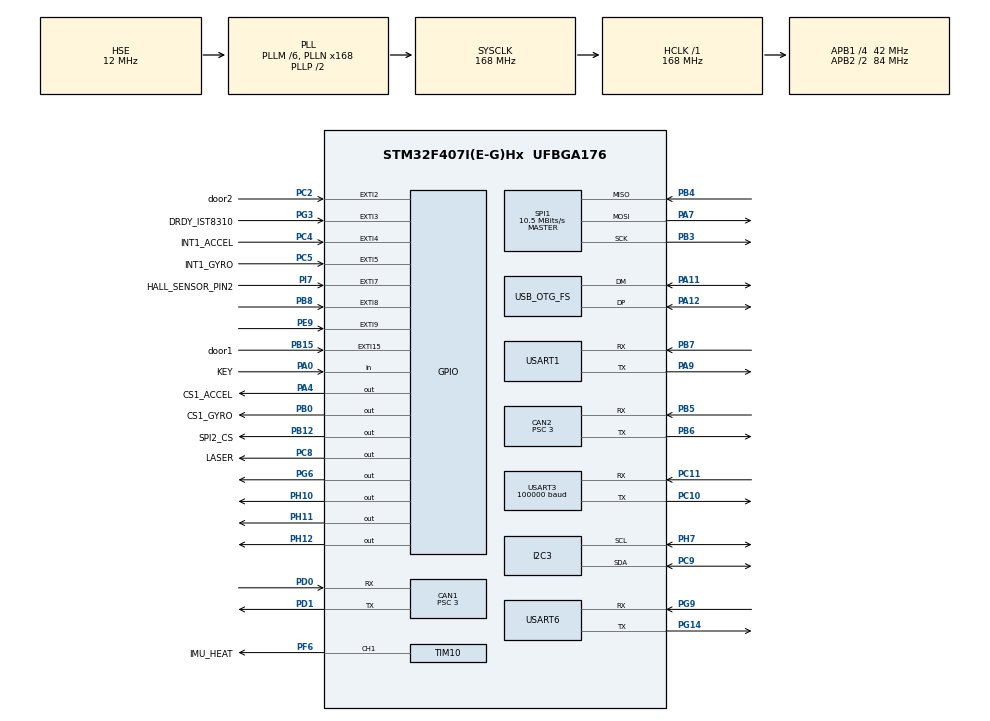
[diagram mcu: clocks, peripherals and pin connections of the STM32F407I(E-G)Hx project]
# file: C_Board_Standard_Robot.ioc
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CAN1.BS1=CAN_BS1_10TQ
CAN1.BS2=CAN_BS2_3TQ
CAN1.CalculateBaudRate=1000000
CAN1.CalculateTimeBit=1000
CAN1.CalculateTimeQuantum=71.42857142857143
CAN1.Prescaler=3
CAN2.BS1=CAN_BS1_10TQ
CAN2.BS2=CAN_BS2_3TQ
CAN2.CalculateBaudRate=1000000
CAN2.CalculateTimeBit=1000
CAN2.CalculateTimeQuantum=71.42857142857143
CAN2.Prescaler=3
Dma.Request0=SPI1_RX
Dma.Request1=SPI1_TX
Dma.Request2=USART1_RX
Dma.Request3=USART1_TX
Dma.Request4=USART3_RX
Dma.Request5=USART3_TX
Dma.Request6=USART6_RX
Dma.Request7=USART6_TX
Dma.SPI1_RX.0.Direction=DMA_PERIPH_TO_MEMORY
Dma.SPI1_RX.0.FIFOMode=DMA_FIFOMODE_DISABLE
Dma.SPI1_RX.0.Instance=DMA2_Stream0
Dma.SPI1_RX.0.MemDataAlignment=DMA_MDATAALIGN_BYTE
Dma.SPI1_RX.0.MemInc=DMA_MINC_ENABLE
Dma.SPI1_RX.0.Mode=DMA_NORMAL
Dma.SPI1_RX.0.PeriphDataAlignment=DMA_PDATAALIGN_BYTE
Dma.SPI1_RX.0.PeriphInc=DMA_PINC_DISABLE
Dma.SPI1_RX.0.Priority=DMA_PRIORITY_VERY_HIGH
Dma.SPI1_TX.1.Direction=DMA_MEMORY_TO_PERIPH
Dma.SPI1_TX.1.FIFOMode=DMA_FIFOMODE_DISABLE
Dma.SPI1_TX.1.Instance=DMA2_Stream3
Dma.SPI1_TX.1.MemDataAlignment=DMA_MDATAALIGN_BYTE
Dma.SPI1_TX.1.MemInc=DMA_MINC_ENABLE
Dma.SPI1_TX.1.Mode=DMA_NORMAL
Dma.SPI1_TX.1.PeriphDataAlignment=DMA_PDATAALIGN_BYTE
Dma.SPI1_TX.1.PeriphInc=DMA_PINC_DISABLE
Dma.SPI1_TX.1.Priority=DMA_PRIORITY_HIGH
Dma.USART1_RX.2.Direction=DMA_PERIPH_TO_MEMORY
Dma.USART1_RX.2.FIFOMode=DMA_FIFOMODE_DISABLE
Dma.USART1_RX.2.Instance=DMA2_Stream2
Dma.USART1_RX.2.MemDataAlignment=DMA_MDATAALIGN_BYTE
Dma.USART1_RX.2.MemInc=DMA_MINC_ENABLE
Dma.USART1_RX.2.Mode=DMA_NORMAL
Dma.USART1_RX.2.PeriphDataAlignment=DMA_PDATAALIGN_BYTE
Dma.USART1_RX.2.PeriphInc=DMA_PINC_DISABLE
Dma.USART1_RX.2.Priority=DMA_PRIORITY_VERY_HIGH
Dma.USART1_TX.3.Direction=DMA_MEMORY_TO_PERIPH
Dma.USART1_TX.3.FIFOMode=DMA_FIFOMODE_DISABLE
Dma.USART1_TX.3.Instance=DMA2_Stream7
Dma.USART1_TX.3.MemDataAlignment=DMA_MDATAALIGN_BYTE
Dma.USART1_TX.3.MemInc=DMA_MINC_ENABLE
Dma.USART1_TX.3.Mode=DMA_NORMAL
Dma.USART1_TX.3.PeriphDataAlignment=DMA_PDATAALIGN_BYTE
Dma.USART1_TX.3.PeriphInc=DMA_PINC_DISABLE
Dma.USART1_TX.3.Priority=DMA_PRIORITY_VERY_HIGH
Dma.USART3_RX.4.Direction=DMA_PERIPH_TO_MEMORY
Dma.USART3_RX.4.FIFOMode=DMA_FIFOMODE_DISABLE
Dma.USART3_RX.4.Instance=DMA1_Stream1
Dma.USART3_RX.4.MemDataAlignment=DMA_MDATAALIGN_BYTE
Dma.USART3_RX.4.MemInc=DMA_MINC_ENABLE
Dma.USART3_RX.4.Mode=DMA_NORMAL
Dma.USART3_RX.4.PeriphDataAlignment=DMA_PDATAALIGN_BYTE
Dma.USART3_RX.4.PeriphInc=DMA_PINC_DISABLE
Dma.USART3_RX.4.Priority=DMA_PRIORITY_LOW
Dma.USART3_TX.5.Direction=DMA_MEMORY_TO_PERIPH
Dma.USART3_TX.5.FIFOMode=DMA_FIFOMODE_DISABLE
Dma.USART3_TX.5.Instance=DMA1_Stream3
Dma.USART3_TX.5.MemDataAlignment=DMA_MDATAALIGN_BYTE
Dma.USART3_TX.5.MemInc=DMA_MINC_ENABLE
Dma.USART3_TX.5.Mode=DMA_NORMAL
Dma.USART3_TX.5.PeriphDataAlignment=DMA_PDATAALIGN_BYTE
Dma.USART3_TX.5.PeriphInc=DMA_PINC_DISABLE
Dma.USART3_TX.5.Priority=DMA_PRIORITY_VERY_HIGH
Dma.USART6_RX.6.Direction=DMA_PERIPH_TO_MEMORY
Dma.USART6_RX.6.FIFOMode=DMA_FIFOMODE_DISABLE
Dma.USART6_RX.6.Instance=DMA2_Stream1
Dma.USART6_RX.6.MemDataAlignment=DMA_MDATAALIGN_BYTE
Dma.USART6_RX.6.MemInc=DMA_MINC_ENABLE
Dma.USART6_RX.6.Mode=DMA_NORMAL
Dma.USART6_RX.6.PeriphDataAlignment=DMA_PDATAALIGN_BYTE
Dma.USART6_RX.6.PeriphInc=DMA_PINC_DISABLE
Dma.USART6_RX.6.Priority=DMA_PRIORITY_VERY_HIGH
Dma.USART6_TX.7.Direction=DMA_MEMORY_TO_PERIPH
Dma.USART6_TX.7.FIFOMode=DMA_FIFOMODE_DISABLE
Dma.USART6_TX.7.Instance=DMA2_Stream6
Dma.USART6_TX.7.MemDataAlignment=DMA_MDATAALIGN_BYTE
Dma.USART6_TX.7.MemInc=DMA_MINC_ENABLE
Dma.USART6_TX.7.Mode=DMA_NORMAL
Dma.USART6_TX.7.PeriphDataAlignment=DMA_PDATAALIGN_BYTE
Dma.USART6_TX.7.PeriphInc=DMA_PINC_DISABLE
Dma.USART6_TX.7.Priority=DMA_PRIORITY_VERY_HIGH
FREERTOS.INCLUDE_eTaskGetState=1
FREERTOS.INCLUDE_pcTaskGetTaskName=1
FREERTOS.INCLUDE_uxTaskGetStackHighWaterMark=1
FREERTOS.INCLUDE_vTaskCleanUpResources=1
FREERTOS.INCLUDE_vTaskDelayUntil=1
FREERTOS.INCLUDE_xEventGroupSetBitFromISR=1
FREERTOS.INCLUDE_xQueueGetMutexHolder=1
FREERTOS.INCLUDE_xSemaphoreGetMutexHolder=1
FREERTOS.INCLUDE_xTaskAbortDelay=1
FREERTOS.INCLUDE_xTaskGetCurrentTaskHandle=1
FREERTOS.INCLUDE_xTaskGetHandle=1
FREERTOS.INCLUDE_xTimerPendFunctionCall=1
FREERTOS.Tasks01=INSTask,2,1024,StartINSTask,Default,NULL,Dynamic,NULL,NULL;ShootTask,0,128,Shoot_task,As weak,NULL,Dynamic,NULL,NULL;PitchTask,0,128,Pitch_task,As weak,NULL,Dynamic,NULL,NULL;GimbalTask,2,128,Gimbal_task,As weak,NULL,Dynamic,NULL,NULL
FREERTOS.configTOTAL_HEAP_SIZE=24576
I2C3.I2C_Mode=I2C_Fast
Mcu.Family=STM32F4
Mcu.Name=STM32F407I(E-G)Hx
Mcu.Package=UFBGA176
NVIC.CAN1_RX0_IRQn=true\:5\:0\:false\:false\:true\:true\:true\:true\:true
NVIC.CAN1_TX_IRQn=true\:5\:0\:false\:false\:true\:true\:true\:true\:true
NVIC.CAN2_RX0_IRQn=true\:5\:0\:false\:false\:true\:true\:true\:true\:true
NVIC.CAN2_TX_IRQn=true\:5\:0\:false\:false\:true\:true\:true\:true\:true
NVIC.DMA1_Stream1_IRQn=true\:5\:0\:false\:false\:true\:true\:false\:true\:true
NVIC.DMA1_Stream3_IRQn=true\:5\:0\:false\:false\:true\:true\:false\:true\:true
NVIC.DMA2_Stream0_IRQn=true\:5\:0\:false\:false\:true\:true\:false\:true\:true
NVIC.DMA2_Stream1_IRQn=true\:5\:0\:false\:false\:true\:true\:false\:true\:true
NVIC.DMA2_Stream2_IRQn=true\:5\:0\:true\:false\:false\:true\:false\:true\:true
NVIC.DMA2_Stream3_IRQn=true\:5\:0\:true\:false\:false\:true\:false\:true\:true
NVIC.DMA2_Stream6_IRQn=true\:5\:0\:false\:false\:true\:true\:false\:true\:true
NVIC.DMA2_Stream7_IRQn=true\:5\:0\:false\:false\:true\:true\:false\:true\:true
NVIC.EXTI15_10_IRQn=true\:5\:0\:false\:false\:true\:true\:true\:true\:true
NVIC.EXTI2_IRQn=true\:5\:0\:false\:false\:true\:true\:true\:true\:true
NVIC.EXTI3_IRQn=true\:5\:0\:true\:false\:true\:true\:true\:true\:true
NVIC.EXTI4_IRQn=true\:5\:0\:true\:false\:true\:true\:true\:true\:true
NVIC.EXTI9_5_IRQn=true\:5\:0\:true\:false\:true\:true\:true\:true\:true
NVIC.OTG_FS_IRQn=true\:5\:0\:false\:false\:true\:true\:true\:true\:true
NVIC.PriorityGroup=NVIC_PRIORITYGROUP_4
NVIC.SPI1_IRQn=true\:5\:0\:false\:false\:true\:true\:true\:true\:true
NVIC.TIM1_BRK_TIM9_IRQn=true\:5\:0\:false\:false\:true\:true\:true\:true\:true
NVIC.TIM1_UP_TIM10_IRQn=true\:5\:0\:false\:false\:true\:true\:true\:true\:true
NVIC.TIM3_IRQn=true\:15\:0\:false\:false\:true\:false\:false\:true\:true
NVIC.TIM6_DAC_IRQn=true\:5\:0\:false\:false\:true\:true\:true\:true\:true
NVIC.TIM8_BRK_TIM12_IRQn=true\:5\:0\:false\:false\:true\:true\:true\:true\:true
NVIC.TIM8_UP_TIM13_IRQn=true\:5\:0\:false\:false\:true\:true\:true\:true\:true
NVIC.TimeBase=TIM3_IRQn
NVIC.TimeBaseIP=TIM3
NVIC.USART1_IRQn=true\:5\:0\:false\:false\:true\:true\:true\:true\:true
NVIC.USART3_IRQn=true\:5\:0\:false\:false\:true\:true\:true\:true\:true
NVIC.USART6_IRQn=true\:5\:0\:false\:false\:true\:true\:true\:true\:true
PA0-WKUP.GPIO_Label=KEY
PA0-WKUP.GPIO_PuPd=GPIO_PULLUP
PA0-WKUP.Signal=GPIO_Input
PA11.Mode=Device_Only
PA11.Signal=USB_OTG_FS_DM
PA12.Mode=Device_Only
PA12.Signal=USB_OTG_FS_DP
PA13.Mode=Serial_Wire
PA13.Signal=SYS_JTMS-SWDIO
PA14.Mode=Serial_Wire
PA14.Signal=SYS_JTCK-SWCLK
PA4.GPIO_Label=CS1_ACCEL
PA4.GPIO_PuPd=GPIO_PULLUP
PA4.GPIO_Speed=GPIO_SPEED_FREQ_HIGH
PA4.PinState=GPIO_PIN_SET
PA4.Signal=GPIO_Output
PA7.GPIO_PuPd=GPIO_PULLUP
PA7.Mode=Full_Duplex_Master
PA7.Signal=SPI1_MOSI
PA9.Mode=Asynchronous
PA9.Signal=USART1_TX
PB0.GPIO_Label=CS1_GYRO
PB0.GPIO_PuPd=GPIO_PULLUP
PB0.GPIO_Speed=GPIO_SPEED_FREQ_HIGH
PB0.PinState=GPIO_PIN_SET
PB0.Signal=GPIO_Output
PB12.GPIO_Label=SPI2_CS
PB12.GPIO_PuPd=GPIO_PULLUP
PB12.GPIO_Speed=GPIO_SPEED_FREQ_MEDIUM
PB12.PinState=GPIO_PIN_SET
PB12.Signal=GPIO_Output
PB15.GPIO_Label=door1
PB15.GPIO_PuPd=GPIO_PULLDOWN
PB15.Signal=GPXTI15
PB3.GPIO_PuPd=GPIO_PULLUP
PB3.Mode=Full_Duplex_Master
PB3.Signal=SPI1_SCK
PB4.GPIO_PuPd=GPIO_PULLUP
PB4.Mode=Full_Duplex_Master
PB4.Signal=SPI1_MISO
PB5.Mode=CAN_Activate
PB5.Signal=CAN2_RX
PB6.Mode=CAN_Activate
PB6.Signal=CAN2_TX
PB7.Mode=Asynchronous
PB7.Signal=USART1_RX
PB8.Signal=GPXTI8
PC10.Mode=Asynchronous
PC10.Signal=USART3_TX
PC11.Mode=Asynchronous
PC11.Signal=USART3_RX
PC2.GPIO_Label=door2
PC2.GPIO_ModeDefaultEXTI=GPIO_MODE_IT_RISING
PC2.GPIO_PuPd=GPIO_PULLDOWN
PC2.Signal=GPXTI2
PC4.GPIO_Label=INT1_ACCEL
PC4.GPIO_ModeDefaultEXTI=GPIO_MODE_IT_FALLING
PC4.GPIO_PuPd=GPIO_PULLUP
PC4.Signal=GPXTI4
PC5.GPIO_Label=INT1_GYRO
PC5.GPIO_ModeDefaultEXTI=GPIO_MODE_IT_FALLING
PC5.GPIO_PuPd=GPIO_PULLUP
PC5.Signal=GPXTI5
PC8.GPIO_Label=LASER
PC8.Signal=GPIO_Output
PC9.Mode=I2C
PC9.Signal=I2C3_SDA
PD0.Mode=CAN_Activate
PD0.Signal=CAN1_RX
PD1.Mode=CAN_Activate
PD1.Signal=CAN1_TX
PE9.GPIO_PuPd=GPIO_PULLUP
PE9.Signal=GPXTI9
PF6.GPIO_Label=IMU_HEAT
PF6.GPIO_PuPd=GPIO_PULLUP
PF6.GPIO_Speed=GPIO_SPEED_FREQ_HIGH
PF6.Signal=S_TIM10_CH1
PG14.Mode=Asynchronous
PG14.Signal=USART6_TX
PG3.GPIO_Label=DRDY_IST8310
PG3.GPIO_ModeDefaultEXTI=GPIO_MODE_IT_FALLING
PG3.GPIO_PuPd=GPIO_PULLUP
PG3.Signal=GPXTI3
PG6.Signal=GPIO_Output
PG9.Mode=Asynchronous
PG9.Signal=USART6_RX
PH0-OSC_IN.Mode=HSE-External-Oscillator
PH0-OSC_IN.Signal=RCC_OSC_IN
PH1-OSC_OUT.Mode=HSE-External-Oscillator
PH1-OSC_OUT.Signal=RCC_OSC_OUT
PH10.GPIO_PuPd=GPIO_PULLUP
PH10.Signal=GPIO_Output
PH11.GPIO_PuPd=GPIO_PULLUP
PH11.Signal=GPIO_Output
PH12.GPIO_PuPd=GPIO_PULLUP
PH12.Signal=GPIO_Output
PH7.Mode=I2C
PH7.Signal=I2C3_SCL
PI7.GPIO_Label=HALL_SENSOR_PIN2
PI7.Signal=GPXTI7
ProjectManager.HeapSize=0x2000
ProjectManager.StackSize=0x2000
ProjectManager.TargetToolchain=MDK-ARM V5.32
RCC.48MHZClocksFreq_Value=48000000
RCC.AHBFreq_Value=168000000
RCC.APB1CLKDivider=RCC_HCLK_DIV4
RCC.APB1Freq_Value=42000000
RCC.APB1TimFreq_Value=84000000
RCC.APB2CLKDivider=RCC_HCLK_DIV2
RCC.APB2Freq_Value=84000000
RCC.APB2TimFreq_Value=168000000
RCC.CortexFreq_Value=168000000
RCC.HCLKFreq_Value=168000000
RCC.HSE_VALUE=12000000
RCC.HSI_VALUE=16000000
RCC.LSE_VALUE=32768
RCC.PLLM=6
RCC.PLLN=168
RCC.PLLQ=7
RCC.RCC_RTC_Clock_SourceVirtual=RCC_RTCCLKSOURCE_HSE_DIV30
RCC.RCC_RTC_Clock_Source_FROM_HSE=RCC_RTCCLKSOURCE_HSE_DIV30
RCC.SYSCLKFreq_VALUE=168000000
RCC.SYSCLKSource=RCC_SYSCLKSOURCE_PLLCLK
RCC.VCOOutputFreq_Value=336000000
SH.S_TIM10_CH1.0=TIM10_CH1,PWM Generation1 CH1
SPI1.BaudRatePrescaler=SPI_BAUDRATEPRESCALER_8
SPI1.CLKPhase=SPI_PHASE_2EDGE
SPI1.CLKPolarity=SPI_POLARITY_HIGH
SPI1.CalculateBaudRate=10.5 MBits/s
SPI1.Direction=SPI_DIRECTION_2LINES
SPI1.Mode=SPI_MODE_MASTER
SPI1.VirtualType=VM_MASTER
TIM1.Period=10000-1
TIM1.Prescaler=16800-1
TIM10.Channel=TIM_CHANNEL_1
TIM10.Period=2000-1
TIM10.Prescaler=84-1
TIM2.Period=100-1
TIM2.Prescaler=8400
TIM6.AutoReloadPreload=TIM_AUTORELOAD_PRELOAD_DISABLE
TIM6.Period=10000
TIM6.Prescaler=168-1
TIM9.Period=100-1
TIM9.Prescaler=16800-1
USART1.VirtualMode=VM_ASYNC
USART3.BaudRate=100000
USART3.Parity=PARITY_EVEN
USART3.VirtualMode=VM_ASYNC
USART3.WordLength=WORDLENGTH_9B
USART6.VirtualMode=VM_ASYNC
USB_DEVICE.CLASS_NAME_FS=CDC
USB_DEVICE.VirtualMode-CDC_FS=Cdc
USB_DEVICE.VirtualModeFS=Cdc_FS
USB_OTG_FS.VirtualMode=Device_Only
VP_FREERTOS_VS_CMSIS_V1.Mode=CMSIS_V1
VP_SYS_VS_tim3.Mode=TIM3
VP_TIM10_VS_ClockSourceINT.Mode=Enable_Timer
VP_TIM1_VS_ClockSourceINT.Mode=Internal
VP_TIM2_VS_ClockSourceINT.Mode=Internal
VP_TIM4_VS_ClockSourceINT.Mode=Internal
VP_TIM6_VS_ClockSourceINT.Mode=Enable_Timer
VP_TIM8_VS_ClockSourceINT.Mode=Internal
VP_TIM9_VS_ClockSourceINT.Mode=Internal
VP_USB_DEVICE_VS_USB_DEVICE_CDC_FS.Mode=CDC_FS
board=custom

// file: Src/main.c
/* USER CODE BEGIN Header */
/**
 ******************************************************************************
 * @file           : main.c
 * @brief          : Main program body
 ******************************************************************************
 * @attention
 *
 * Copyright (c) 2023 STMicroelectronics.
 * All rights reserved.
 *
 * This software is licensed under terms that can be found in the LICENSE file
 * in the root directory of this software component.
 * If no LICENSE file comes with this software, it is provided AS-IS.
 *
 ******************************************************************************
 */
/* USER CODE END Header */
#include "main.h"
#include "cmsis_os.h"
#include "can.h"
#include "dma.h"
#include "i2c.h"
#include "spi.h"
#include "tim.h"
#include "usart.h"
#include "usb_device.h"
#include "gpio.h"

/* USER CODE BEGIN Includes */
#include "INS_task.h"
#include "drv_can.h"
#include "bsp_dwt.h"
/* USER CODE END Includes */

void SystemClock_Config(void);
void MX_FREERTOS_Init(void);

int main(void)
{

  /* MCU Configuration--------------------------------------------------------*/

  /* Reset of all peripherals, Initializes the Flash interface and the Systick. */
  HAL_Init();

  /* Configure the system clock */
  SystemClock_Config();

  /* Initialize all configured peripherals */
  MX_GPIO_Init();
  MX_DMA_Init();
  MX_SPI1_Init();
  MX_TIM10_Init();
  MX_CAN1_Init();
  MX_CAN2_Init();
  MX_I2C3_Init();
  MX_TIM1_Init();
  MX_TIM2_Init();
  MX_TIM8_Init();
  MX_TIM9_Init();
  MX_USART1_UART_Init();
  MX_USART3_UART_Init();
  MX_USART6_UART_Init();
  MX_TIM4_Init();
  MX_TIM6_Init();
  /* USER CODE BEGIN 2 */
  CAN1_Init();
  CAN2_Init();
  HAL_TIM_Base_Start_IT(&htim1);
  HAL_TIM_Base_Start_IT(&htim6); // 测试发弹速度
  DWT_Init(168);
  while (BMI088_init(&hspi1, 1) != BMI088_NO_ERROR)
    ;
  /* USER CODE END 2 */

  /* Call init function for freertos objects (in cmsis_os2.c) */
  MX_FREERTOS_Init();

  /* Start scheduler */
  osKernelStart();

  /* We should never get here as control is now taken by the scheduler */

  /* Infinite loop */
  while (1)
  {

  }
}

void SystemClock_Config(void)
{
  RCC_OscInitTypeDef RCC_OscInitStruct = {0};
  RCC_ClkInitTypeDef RCC_ClkInitStruct = {0};

  /** Configure the main internal regulator output voltage
   */
  __HAL_RCC_PWR_CLK_ENABLE();
  __HAL_PWR_VOLTAGESCALING_CONFIG(PWR_REGULATOR_VOLTAGE_SCALE1);

  /** Initializes the RCC Oscillators according to the specified parameters
   * in the RCC_OscInitTypeDef structure.
   */
  RCC_OscInitStruct.OscillatorType = RCC_OSCILLATORTYPE_HSE;
  RCC_OscInitStruct.HSEState = RCC_HSE_ON;
  RCC_OscInitStruct.PLL.PLLState = RCC_PLL_ON;
  RCC_OscInitStruct.PLL.PLLSource = RCC_PLLSOURCE_HSE;
  RCC_OscInitStruct.PLL.PLLM = 6;
  RCC_OscInitStruct.PLL.PLLN = 168;
  RCC_OscInitStruct.PLL.PLLP = RCC_PLLP_DIV2;
  RCC_OscInitStruct.PLL.PLLQ = 7;
  if (HAL_RCC_OscConfig(&RCC_OscInitStruct) != HAL_OK)
  {
    Error_Handler();
  }

  /** Initializes the CPU, AHB and APB buses clocks
   */
  RCC_ClkInitStruct.ClockType = RCC_CLOCKTYPE_HCLK | RCC_CLOCKTYPE_SYSCLK | RCC_CLOCKTYPE_PCLK1 | RCC_CLOCKTYPE_PCLK2;
  RCC_ClkInitStruct.SYSCLKSource = RCC_SYSCLKSOURCE_PLLCLK;
  RCC_ClkInitStruct.AHBCLKDivider = RCC_SYSCLK_DIV1;
  RCC_ClkInitStruct.APB1CLKDivider = RCC_HCLK_DIV4;
  RCC_ClkInitStruct.APB2CLKDivider = RCC_HCLK_DIV2;

  if (HAL_RCC_ClockConfig(&RCC_ClkInitStruct, FLASH_LATENCY_5) != HAL_OK)
  {
    Error_Handler();
  }
}

void HAL_TIM_PeriodElapsedCallback(TIM_HandleTypeDef *htim)
{
  if (htim->Instance == TIM3)
  {
    HAL_IncTick();
  }
}

void Error_Handler(void)
{
  __disable_irq();
  while (1)
  {
  }
}

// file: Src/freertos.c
/* USER CODE BEGIN Header */
/**
 ******************************************************************************
 * File Name          : freertos.c
 * Description        : Code for freertos applications
 ******************************************************************************
 * @attention
 *
 * <h2><center>&copy; Copyright (c) 2021 STMicroelectronics.
 * All rights reserved.</center></h2>
 *
 * This software component is licensed by ST under Ultimate Liberty license
 * SLA0044, the "License"; You may not use this file except in compliance with
 * the License. You may obtain a copy of the License at:
 *                             www.st.com/SLA0044
 *
 ******************************************************************************
 */
/* USER CODE END Header */

#include "FreeRTOS.h"
#include "task.h"
#include "main.h"
#include "cmsis_os.h"

/* USER CODE BEGIN Includes */
#include "INS_task.h"
#include "daemon.h"
#include "bsp_dwt.h"
#include "stm32f4xx_it.h"
/* USER CODE END Includes */

/* USER CODE BEGIN Variables */
osThreadId ExchangeTaskHandle;
osThreadId DaemonTaskHandle;
/* USER CODE END Variables */
osThreadId INSTaskHandle;
osThreadId ShootTaskHandle;
osThreadId PitchTaskHandle;
osThreadId GimbalTaskHandle;

/* USER CODE BEGIN FunctionPrototypes */
void exchange_task(void const *argument);
void StartDAEMONTASK(void const *argument);
/* USER CODE END FunctionPrototypes */

void StartINSTask(void const *argument);
void Shoot_task(void const *argument);
void Pitch_task(void const *argument);
void Gimbal_task(void const *argument);

extern void MX_USB_DEVICE_Init(void);
void MX_FREERTOS_Init(void); /* (MISRA C 2004 rule 8.1) */

/* GetIdleTaskMemory prototype (linked to static allocation support) */
void vApplicationGetIdleTaskMemory(StaticTask_t **ppxIdleTaskTCBBuffer, StackType_t **ppxIdleTaskStackBuffer, uint32_t *pulIdleTaskStackSize);

/* GetTimerTaskMemory prototype (linked to static allocation support) */
void vApplicationGetTimerTaskMemory(StaticTask_t **ppxTimerTaskTCBBuffer, StackType_t **ppxTimerTaskStackBuffer, uint32_t *pulTimerTaskStackSize);

/* USER CODE BEGIN GET_IDLE_TASK_MEMORY */
static StaticTask_t xIdleTaskTCBBuffer;
static StackType_t xIdleStack[configMINIMAL_STACK_SIZE];

void vApplicationGetIdleTaskMemory(StaticTask_t **ppxIdleTaskTCBBuffer, StackType_t **ppxIdleTaskStackBuffer, uint32_t *pulIdleTaskStackSize)
{
  *ppxIdleTaskTCBBuffer = &xIdleTaskTCBBuffer;
  *ppxIdleTaskStackBuffer = &xIdleStack[0];
  *pulIdleTaskStackSize = configMINIMAL_STACK_SIZE;
  /* place for user code */
}
/* USER CODE END GET_IDLE_TASK_MEMORY */

/* USER CODE BEGIN GET_TIMER_TASK_MEMORY */
static StaticTask_t xTimerTaskTCBBuffer;
static StackType_t xTimerStack[configTIMER_TASK_STACK_DEPTH];

void vApplicationGetTimerTaskMemory(StaticTask_t **ppxTimerTaskTCBBuffer, StackType_t **ppxTimerTaskStackBuffer, uint32_t *pulTimerTaskStackSize)
{
  *ppxTimerTaskTCBBuffer = &xTimerTaskTCBBuffer;
  *ppxTimerTaskStackBuffer = &xTimerStack[0];
  *pulTimerTaskStackSize = configTIMER_TASK_STACK_DEPTH;
  /* place for user code */
}
/* USER CODE END GET_TIMER_TASK_MEMORY */

void MX_FREERTOS_Init(void)
{

  /* Create the thread(s) */
  /* definition and creation of INSTask */
  osThreadDef(INSTask, StartINSTask, osPriorityHigh, 0, 1024);
  INSTaskHandle = osThreadCreate(osThread(INSTask), NULL);

  /* definition and creation of ShootTask */
  osThreadDef(ShootTask, Shoot_task, osPriorityNormal, 0, 128);
  ShootTaskHandle = osThreadCreate(osThread(ShootTask), NULL);

  /* definition and creation of PitchTask */
  osThreadDef(PitchTask, Pitch_task, osPriorityNormal, 0, 128);
  PitchTaskHandle = osThreadCreate(osThread(PitchTask), NULL);

  /* definition and creation of GimbalTask */
  osThreadDef(GimbalTask, Gimbal_task, osPriorityHigh, 0, 128);
  GimbalTaskHandle = osThreadCreate(osThread(GimbalTask), NULL);

  /* USER CODE BEGIN RTOS_THREADS */
  /* add threads, ... */
  osThreadDef(ExchangeTask, exchange_task, osPriorityNormal, 0, 128);
  ExchangeTaskHandle = osThreadCreate(osThread(ExchangeTask), NULL);

  osThreadDef(DaemonTask, StartDAEMONTASK, osPriorityNormal, 0, 128);
  DaemonTaskHandle = osThreadCreate(osThread(DaemonTask), NULL);
  /* USER CODE END RTOS_THREADS */
}

void StartINSTask(void const *argument)
{
  /* init code for USB_DEVICE */
  MX_USB_DEVICE_Init();
  /* USER CODE BEGIN StartINSTask */
  INS_Init();
  HAL_GPIO_WritePin(GPIOH, GPIO_PIN_11, GPIO_PIN_SET);
  /* Infinite loop */
  for (;;)
  {
    INS_Task();
    osDelay(1);
  }
  /* USER CODE END StartINSTask */
}

__weak void Shoot_task(void const *argument)
{
  for (;;)
  {
    osDelay(1);
  }
}

__weak void Pitch_task(void const *argument)
{
  for (;;)
  {
    osDelay(1);
  }
}

__weak void Gimbal_task(void const *argument)
{
  for (;;)
  {
    osDelay(1);
  }
}

/* USER CODE BEGIN Application */
__attribute__((noreturn)) void StartDAEMONTASK(void const *argument)
{
  static float daemon_dt;
  static float daemon_start;
  for (;;)
  {
    // 100Hz
    daemon_start = DWT_GetTimeline_ms();
    DaemonTask();
    daemon_dt = DWT_GetTimeline_ms() - daemon_start;
    osDelay(10);
  }
}
/* USER CODE END Application */
